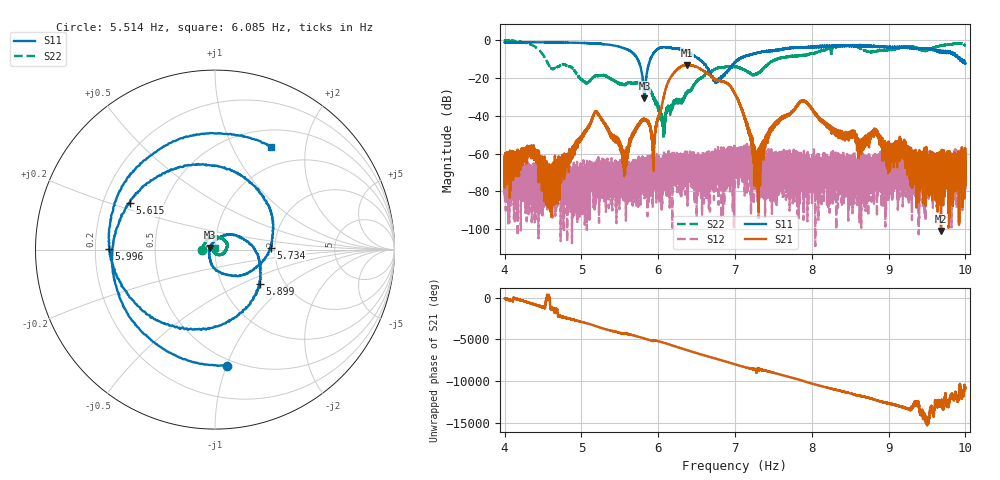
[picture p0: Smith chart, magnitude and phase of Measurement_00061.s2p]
!Created with skrf (http://scikit-rf.org).
# Hz S RI R 50.0
!freq ReS11 ImS11 ReS21 ImS21 ReS12 ImS12 ReS22 ImS22
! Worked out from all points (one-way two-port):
!   14001 points, 4 Hz to 10 Hz, reference 50 ohm
!   highest |S21| = -13.06 dB at 6.369 Hz (marker M1); lowest = -100.8 dB at 9.682 Hz (marker M2)
!   lowest |S11| = -30.8 dB at 5.821 Hz (marker M3), VSWR 1.06, Z = 47.4 + j0.995 ohm
!   |S11| at or under -10 dB: 5.731 Hz to 5.899 Hz (168.3 mHz wide, 2.89 % of centre); 6.533 Hz to 7.052 Hz (518.3 mHz wide, 7.63 % of centre); 9.95 Hz to end of sweep (the widest 3 of 6)
!   |S22| runs from -52.4 to -0.2 dB; largest |S21 - S12| = 0.22
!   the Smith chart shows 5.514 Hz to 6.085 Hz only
!   S11 on the Smith chart (normalised r, x): 5.514 Hz: 0.45, -1.00; 5.615 Hz: 0.31, +0.23; 5.734 Hz: 1.90, +0.05; 5.899 Hz: 1.50, -0.64; 5.996 Hz: 0.26, +0.00; 6.085 Hz: 0.73, +1.43
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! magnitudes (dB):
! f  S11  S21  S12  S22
! 4 Hz  -1.1  -74.1  -74.9  -0.2
! 4.336 Hz  -1.1  -58.4  -70.4  -2.3
! 4.589 Hz  -1.1  -75.9  -77.4  -14.0
! 5 Hz  -1.5  -52.2  -81.5  -20.8
! 5.196 Hz  -1.8  -38.1  -68.0  -18.8
! 5.514 Hz  -3.7  -57.7  -64.6  -23.1
! 5.615 Hz  -5.3  -57.3  -73.5  -22.3
! 5.734 Hz  -10.2  -45.6  -84.0  -22.4
! 5.821 Hz  -30.8  -42.2  -72.8  -24.1
! 5.899 Hz  -10.1  -47.5  -70.9  -26.5
! 5.996 Hz  -4.6  -41.6  -64.5  -34.0
! 6 Hz  -4.5  -40.7  -65.3  -34.4
! 6.085 Hz  -3.7  -27.7  -68.1  -41.6
! 6.369 Hz  -5.9  -13.1  -62.5  -27.8
! 6.75 Hz  -22.2  -20.8  -70.3  -15.2
! 7 Hz  -11.7  -28.5  -56.3  -14.0
! 7.297 Hz  -6.6  -64.6  -63.9  -17.4
! 7.552 Hz  -5.3  -43.7  -69.4  -9.9
! 8 Hz  -3.8  -36.6  -81.9  -6.9
! 9 Hz  -3.8  -58.3  -69.6  -5.0
! 9.682 Hz  -5.8  -100.8  -66.8  -2.9
! 10 Hz  -12.2  -62.5  -66.5  -3.1
